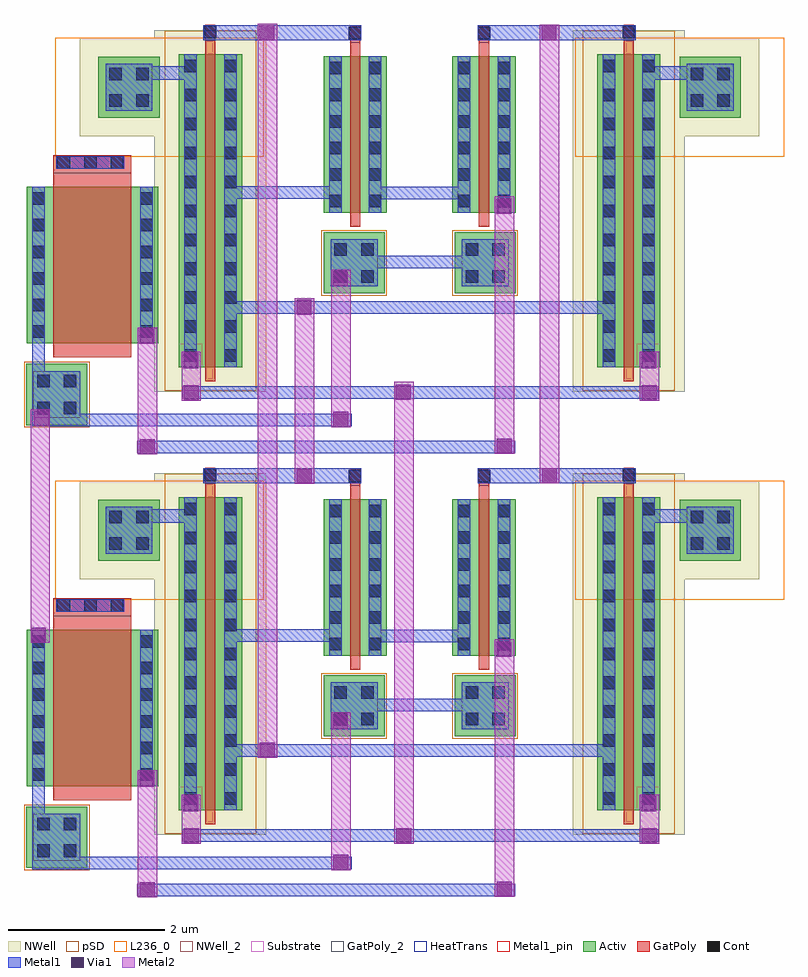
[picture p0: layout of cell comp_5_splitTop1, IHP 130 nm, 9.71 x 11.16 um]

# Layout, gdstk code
from math import pi, radians
import gdstk
lib = gdstk.Library(unit=1e-6, precision=1e-09)
def R(c, l, rs):  # rectangles x0, y0, x1, y1
    for r in rs: c.add(gdstk.rectangle(r[:2], r[2:], *l))
def A(c, l, x, y, w, h, nx, ny, dx, dy):  # array of equal rectangles
    R(c, l, [(x+i*dx, y+j*dy, x+i*dx+w, y+j*dy+h) for i in range(nx) for j in range(ny)])
def P(c, l, *ps):  # polygons
    for p in ps: c.add(gdstk.Polygon(p, *l))
Activ = (1, 0)
GatPoly = (5, 0)
GatPoly_2 = (5, 2)
Cont = (6, 0)
Metal1 = (8, 0)
Metal1_pin = (8, 2)
Metal2 = (10, 0)
pSD = (14, 0)
Via1 = (19, 0)
NWell = (31, 0)
NWell_2 = (31, 2)
Substrate = (40, 0)
HeatTrans = (51, 0)
L236_0 = (236, 0)

ptap = lib.new_cell('ptap')
R(ptap, Activ, [(0,0,0.78,0.78)])
R(ptap, Cont, [(0.14,0.14,0.3,0.3), (0.48,0.14,0.64,0.3), (0.14,0.48,0.3,0.64), (0.48,0.48,0.64,0.64)])
R(ptap, Metal1, [(0.09,0.09,0.69,0.69)])
R(ptap, Metal1_pin, [(0.09,0.09,0.69,0.69)])
R(ptap, pSD, [(-0.03,-0.03,0.81,0.81)])

comp_5_split1 = lib.new_cell('comp_5_split1')
R(comp_5_split1, Activ, [(-0.595,-4.037,0.215,-0.037), (4.752,-4.037,5.562,-0.037), (1.256,-4.011,2.066,-2.011), (2.901,-4.011,3.711,-2.011), (-1.62,-4.008,-0.84,-3.228), (5.807,-4.008,6.587,-3.228), (5.826,-2.344,7.506,-0.344), (1.256,-2.311,1.556,-2.011), (1.766,-2.311,2.066,-2.011), (2.901,-2.311,3.201,-2.011), (3.411,-2.311,3.711,-2.011), (5.826,-0.644,6.126,-0.344), (7.206,-0.644,7.506,-0.344), (-0.595,-0.337,-0.295,-0.037), (-0.085,-0.337,0.215,-0.037), (4.752,-0.337,5.052,-0.037), (5.262,-0.337,5.562,-0.037), (6.729,-0.08,7.509,0.7)])
R(comp_5_split1, GatPoly, [(-0.255,-4.418,-0.125,0.143), (5.092,-4.418,5.222,0.143), (1.596,-4.4,1.726,-1.831), (3.241,-4.4,3.371,-1.831), (-0.255,-4.217,-0.125,0.143), (-0.255,-4.217,-0.125,0.143), (5.092,-4.217,5.222,0.143), (5.092,-4.217,5.222,0.143), (6.166,-2.748,7.166,-0.164)])
R(comp_5_split1, GatPoly_2, [(1.596,-4.191,1.726,-1.831), (1.596,-4.191,1.726,-1.831), (3.241,-4.191,3.371,-1.831), (3.241,-4.191,3.371,-1.831), (6.166,-2.524,7.166,-0.164), (6.166,-2.524,7.166,-0.164)])
A(comp_5_split1, Cont, -0.525, -3.967, 0.16, 0.16, 1, 11, 0, 0.37)
A(comp_5_split1, Cont, -0.015, -3.967, 0.16, 0.16, 1, 11, 0, 0.37)
A(comp_5_split1, Cont, 4.822, -3.967, 0.16, 0.16, 1, 11, 0, 0.37)
A(comp_5_split1, Cont, 5.332, -3.967, 0.16, 0.16, 1, 11, 0, 0.37)
A(comp_5_split1, Cont, 1.326, -3.941, 0.16, 0.16, 1, 6, 0, 0.34)
A(comp_5_split1, Cont, 1.836, -3.941, 0.16, 0.16, 1, 6, 0, 0.34)
A(comp_5_split1, Cont, 2.971, -3.941, 0.16, 0.16, 1, 6, 0, 0.34)
A(comp_5_split1, Cont, 3.481, -3.941, 0.16, 0.16, 1, 6, 0, 0.34)
A(comp_5_split1, Cont, 6.271, -2.733, 0.16, 0.16, 3, 1, 0.34, 0)
A(comp_5_split1, Cont, 5.896, -2.274, 0.16, 0.16, 1, 6, 0, 0.34)
A(comp_5_split1, Cont, 7.276, -2.274, 0.16, 0.16, 1, 6, 0, 0.34)
R(comp_5_split1, Cont, [(-0.275,-4.4,-0.115,-4.24), (5.082,-4.4,5.242,-4.24), (1.581,-4.387,1.741,-4.227), (3.226,-4.387,3.386,-4.227), (-1.48,-3.868,-1.32,-3.708), (-1.14,-3.868,-0.98,-3.708), (5.947,-3.868,6.107,-3.708), (6.287,-3.868,6.447,-3.708), (-1.48,-3.528,-1.32,-3.368), (-1.14,-3.528,-0.98,-3.368), (5.947,-3.528,6.107,-3.368), (6.287,-3.528,6.447,-3.368), (6.869,0.06,7.029,0.22), (7.209,0.06,7.369,0.22), (6.869,0.4,7.029,0.56), (7.209,0.4,7.369,0.56)])
R(comp_5_split1, Metal1, [(-0.28,-4.411,1.741,-4.218), (3.226,-4.411,5.247,-4.218), (-0.015,-4.037,0.145,-0.037), (-0.015,-4.037,0.145,-0.037), (-0.015,-4.037,0.145,-0.037), (4.822,-4.037,4.982,-0.037), (4.822,-4.037,4.982,-0.037), (4.822,-4.037,4.982,-0.037), (1.326,-4.011,1.486,-2.011), (1.836,-4.011,1.996,-2.011), (2.971,-4.011,3.131,-2.011), (3.481,-4.011,3.641,-2.011), (6.255,-2.734,7.128,-2.574), (3.616,-2.353,4.847,-2.193), (5.896,-2.344,6.056,-0.344), (7.276,-2.344,7.436,0.088), (1.883,-2.343,3.114,-2.183), (1.883,-1.464,3.114,-1.304), (-0.016,-0.884,4.897,-0.724), (6.819,0.01,7.436,0.61), (-0.566,0.203,5.514,0.363), (3.348,0.556,7.436,0.716), (1.263,0.902,6.093,1.062)])
P(comp_5_split1, Metal1, [(-0.525,-4.037),(-0.525,-3.885),(-0.93,-3.885),(-0.93,-3.918),(-1.53,-3.918),(-1.53,-3.318),(-0.93,-3.318),(-0.93,-3.715),(-0.525,-3.715),(-0.525,-0.037),(-0.365,-0.037),(-0.365,-4.037)],
  [(5.332,-4.037),(5.332,-0.037),(5.492,-0.037),(5.492,-3.715),(5.897,-3.715),(5.897,-3.318),(6.497,-3.318),(6.497,-3.918),(5.897,-3.918),(5.897,-3.885),(5.492,-3.885),(5.492,-4.037)])
R(comp_5_split1, Metal1_pin, [(1.326,-4.011,1.486,-2.011), (1.326,-4.011,1.486,-2.011), (1.836,-4.011,1.996,-2.011), (1.836,-4.011,1.996,-2.011), (2.971,-4.011,3.131,-2.011), (2.971,-4.011,3.131,-2.011), (3.481,-4.011,3.641,-2.011), (3.481,-4.011,3.641,-2.011), (-1.53,-3.918,-0.93,-3.318), (5.897,-3.918,6.497,-3.318), (5.896,-2.344,6.056,-0.344), (5.896,-2.344,6.056,-0.344), (7.276,-2.344,7.436,-0.344), (7.276,-2.344,7.436,-0.344), (6.819,0.01,7.419,0.61)])
R(comp_5_split1, Metal2, [(1.276,-2.225,1.524,1.069), (3.366,-1.287,3.614,0.727), (5.839,-0.546,6.087,1.074), (-0.579,-0.237,-0.331,0.389), (5.277,-0.237,5.525,0.389)])
R(comp_5_split1, pSD, [(-0.775,-4.337,0.395,0.263), (4.572,-4.337,5.742,0.263), (6.699,-0.11,7.539,0.73)])
R(comp_5_split1, Via1, [(1.313,-2.19,1.503,-2), (3.403,-1.268,3.593,-1.078), (5.876,-0.527,6.066,-0.337), (-0.542,-0.218,-0.352,-0.028), (5.314,-0.218,5.504,-0.028), (-0.548,0.194,-0.358,0.384), (5.308,0.194,5.498,0.384), (3.398,0.533,3.588,0.723), (1.307,0.876,1.497,1.066), (5.87,0.881,6.06,1.071)])
R(comp_5_split1, NWell, [(-0.905,-4.347,0.525,0.273), (4.442,-4.347,5.872,0.273), (-1.86,-4.248,-0.6,-2.988), (5.567,-4.248,6.827,-2.988)])
R(comp_5_split1, NWell_2, [(-1.62,-4.008,-0.84,-3.228)])
R(comp_5_split1, Substrate, [(-0.595,-0.337,-0.295,-0.037), (-0.595,-0.337,-0.295,-0.037), (5.262,-0.337,5.562,-0.037), (5.262,-0.337,5.562,-0.037)])
R(comp_5_split1, HeatTrans, [(-0.255,-4.217,-0.125,0.143), (5.092,-4.217,5.222,0.143), (1.596,-4.191,1.726,-1.831), (3.241,-4.191,3.371,-1.831), (6.166,-2.524,7.166,-0.164)])
R(comp_5_split1, L236_0, [(-2.174,-4.248,0.494,-2.728), (4.473,-4.248,7.141,-2.728)])
comp_5_split1.add(gdstk.Reference(ptap, (2.931,-0.981), x_reflection=True))
comp_5_split1.add(gdstk.Reference(ptap, (2.036,-0.981), rotation=pi))
comp_5_split1.add(gdstk.Label('pmos', (-0.19,-2.037), layer=63, texttype=0))
comp_5_split1.add(gdstk.Label('well', (-0.84,-3.228), layer=63, texttype=0))
comp_5_split1.add(gdstk.Label('pmos', (5.157,-2.037), layer=63, texttype=0))
comp_5_split1.add(gdstk.Label('well', (5.807,-3.228), layer=63, texttype=0))
comp_5_split1.add(gdstk.Label('nmos', (1.661,-3.011), layer=51, texttype=0))
comp_5_split1.add(gdstk.Label('pmos', (-0.19,-2.037), layer=51, texttype=0))
comp_5_split1.add(gdstk.Label('nmos', (3.306,-3.011), layer=51, texttype=0))
comp_5_split1.add(gdstk.Label('pmos', (5.157,-2.037), layer=51, texttype=0))
comp_5_split1.add(gdstk.Label('nmos', (6.666,-1.344), layer=51, texttype=0))
comp_5_split1.add(gdstk.Label('[@instanceName]', (-0.84,-3.488), layer=236, texttype=1))
comp_5_split1.add(gdstk.Label('[@instanceName]', (5.807,-3.488), layer=236, texttype=1))
comp_5_split1.add(gdstk.Label('SOURCE', (-0.459,-0.783), layer=8, texttype=25))
comp_5_split1.add(gdstk.Label('SOURCE', (5.426,-0.783), layer=8, texttype=25))
comp_5_split1.add(gdstk.Label('vdda', (2.379,5.95), layer=8, texttype=25))
comp_5_split1.add(gdstk.Label('pc', (0.647,-4.3), layer=8, texttype=25))
comp_5_split1.add(gdstk.Label('vssa', (7.189,0.391), layer=8, texttype=25))
comp_5_split1.add(gdstk.Label('SOURCE', (1.425,-2.966), layer=8, texttype=25))
comp_5_split1.add(gdstk.Label('SOURCE', (3.038,-2.987), layer=8, texttype=25))
comp_5_split1.add(gdstk.Label('out1p', (4.311,-4.329), layer=8, texttype=25))
comp_5_split1.add(gdstk.Label('vinp', (6.867,-2.666), layer=8, texttype=25))
comp_5_split1.add(gdstk.Label('out1m', (4.749,1.341), layer=8, texttype=25))

comp_5_split1_1 = lib.new_cell('comp_5_split1$1')
R(comp_5_split1_1, Activ, [(-0.595,-4.037,0.215,-0.037), (4.752,-4.037,5.562,-0.037), (1.256,-4.011,2.066,-2.011), (2.901,-4.011,3.711,-2.011), (-1.62,-4.008,-0.84,-3.228), (5.807,-4.008,6.587,-3.228), (5.826,-2.344,7.506,-0.344), (1.256,-2.311,1.556,-2.011), (1.766,-2.311,2.066,-2.011), (2.901,-2.311,3.201,-2.011), (3.411,-2.311,3.711,-2.011), (5.826,-0.644,6.126,-0.344), (7.206,-0.644,7.506,-0.344), (-0.595,-0.337,-0.295,-0.037), (-0.085,-0.337,0.215,-0.037), (4.752,-0.337,5.052,-0.037), (5.262,-0.337,5.562,-0.037), (6.729,-0.08,7.509,0.7)])
R(comp_5_split1_1, GatPoly, [(-0.255,-4.418,-0.125,0.143), (5.092,-4.418,5.222,0.143), (1.596,-4.4,1.726,-1.831), (3.241,-4.4,3.371,-1.831), (-0.255,-4.217,-0.125,0.143), (-0.255,-4.217,-0.125,0.143), (5.092,-4.217,5.222,0.143), (5.092,-4.217,5.222,0.143), (6.166,-2.748,7.166,-0.164)])
R(comp_5_split1_1, GatPoly_2, [(1.596,-4.191,1.726,-1.831), (1.596,-4.191,1.726,-1.831), (3.241,-4.191,3.371,-1.831), (3.241,-4.191,3.371,-1.831), (6.166,-2.524,7.166,-0.164), (6.166,-2.524,7.166,-0.164)])
A(comp_5_split1_1, Cont, -0.525, -3.967, 0.16, 0.16, 1, 11, 0, 0.37)
A(comp_5_split1_1, Cont, -0.015, -3.967, 0.16, 0.16, 1, 11, 0, 0.37)
A(comp_5_split1_1, Cont, 4.822, -3.967, 0.16, 0.16, 1, 11, 0, 0.37)
A(comp_5_split1_1, Cont, 5.332, -3.967, 0.16, 0.16, 1, 11, 0, 0.37)
A(comp_5_split1_1, Cont, 1.326, -3.941, 0.16, 0.16, 1, 6, 0, 0.34)
A(comp_5_split1_1, Cont, 1.836, -3.941, 0.16, 0.16, 1, 6, 0, 0.34)
A(comp_5_split1_1, Cont, 2.971, -3.941, 0.16, 0.16, 1, 6, 0, 0.34)
A(comp_5_split1_1, Cont, 3.481, -3.941, 0.16, 0.16, 1, 6, 0, 0.34)
A(comp_5_split1_1, Cont, 6.271, -2.733, 0.16, 0.16, 3, 1, 0.34, 0)
A(comp_5_split1_1, Cont, 5.896, -2.274, 0.16, 0.16, 1, 6, 0, 0.34)
A(comp_5_split1_1, Cont, 7.276, -2.274, 0.16, 0.16, 1, 6, 0, 0.34)
R(comp_5_split1_1, Cont, [(-0.275,-4.4,-0.115,-4.24), (5.082,-4.4,5.242,-4.24), (1.581,-4.387,1.741,-4.227), (3.226,-4.387,3.386,-4.227), (-1.48,-3.868,-1.32,-3.708), (-1.14,-3.868,-0.98,-3.708), (5.947,-3.868,6.107,-3.708), (6.287,-3.868,6.447,-3.708), (-1.48,-3.528,-1.32,-3.368), (-1.14,-3.528,-0.98,-3.368), (5.947,-3.528,6.107,-3.368), (6.287,-3.528,6.447,-3.368), (6.869,0.06,7.029,0.22), (7.209,0.06,7.369,0.22), (6.869,0.4,7.029,0.56), (7.209,0.4,7.369,0.56)])
R(comp_5_split1_1, Metal1, [(-0.28,-4.411,1.741,-4.218), (3.226,-4.411,5.247,-4.218), (-0.015,-4.037,0.145,-0.037), (-0.015,-4.037,0.145,-0.037), (-0.015,-4.037,0.145,-0.037), (4.822,-4.037,4.982,-0.037), (4.822,-4.037,4.982,-0.037), (4.822,-4.037,4.982,-0.037), (1.326,-4.011,1.486,-2.011), (1.836,-4.011,1.996,-2.011), (2.971,-4.011,3.131,-2.011), (3.481,-4.011,3.641,-2.011), (6.255,-2.734,7.128,-2.574), (3.616,-2.353,4.847,-2.193), (5.896,-2.344,6.056,-0.344), (7.276,-2.344,7.436,0.088), (1.883,-2.343,3.114,-2.183), (1.883,-1.464,3.114,-1.304), (-0.016,-0.884,4.897,-0.724), (6.819,0.01,7.436,0.61), (-0.566,0.203,5.514,0.363), (3.348,0.556,7.436,0.716), (1.263,0.902,6.093,1.062)])
P(comp_5_split1_1, Metal1, [(-0.525,-4.037),(-0.525,-3.885),(-0.93,-3.885),(-0.93,-3.918),(-1.53,-3.918),(-1.53,-3.318),(-0.93,-3.318),(-0.93,-3.715),(-0.525,-3.715),(-0.525,-0.037),(-0.365,-0.037),(-0.365,-4.037)],
  [(5.332,-4.037),(5.332,-0.037),(5.492,-0.037),(5.492,-3.715),(5.897,-3.715),(5.897,-3.318),(6.497,-3.318),(6.497,-3.918),(5.897,-3.918),(5.897,-3.885),(5.492,-3.885),(5.492,-4.037)])
R(comp_5_split1_1, Metal1_pin, [(1.326,-4.011,1.486,-2.011), (1.326,-4.011,1.486,-2.011), (1.836,-4.011,1.996,-2.011), (1.836,-4.011,1.996,-2.011), (2.971,-4.011,3.131,-2.011), (2.971,-4.011,3.131,-2.011), (3.481,-4.011,3.641,-2.011), (3.481,-4.011,3.641,-2.011), (-1.53,-3.918,-0.93,-3.318), (5.897,-3.918,6.497,-3.318), (5.896,-2.344,6.056,-0.344), (5.896,-2.344,6.056,-0.344), (7.276,-2.344,7.436,-0.344), (7.276,-2.344,7.436,-0.344), (6.819,0.01,7.419,0.61)])
R(comp_5_split1_1, Metal2, [(1.276,-2.225,1.524,1.069), (3.366,-1.287,3.614,0.727), (5.839,-0.546,6.087,1.074), (-0.579,-0.237,-0.331,0.389), (5.277,-0.237,5.525,0.389)])
R(comp_5_split1_1, pSD, [(-0.775,-4.337,0.395,0.263), (4.572,-4.337,5.742,0.263), (6.699,-0.11,7.539,0.73)])
R(comp_5_split1_1, Via1, [(1.313,-2.19,1.503,-2), (3.403,-1.268,3.593,-1.078), (5.876,-0.527,6.066,-0.337), (-0.542,-0.218,-0.352,-0.028), (5.314,-0.218,5.504,-0.028), (-0.548,0.194,-0.358,0.384), (5.308,0.194,5.498,0.384), (3.398,0.533,3.588,0.723), (1.307,0.876,1.497,1.066), (5.87,0.881,6.06,1.071)])
R(comp_5_split1_1, NWell, [(-0.905,-4.347,0.525,0.273), (4.442,-4.347,5.872,0.273), (-1.86,-4.248,-0.6,-2.988), (5.567,-4.248,6.827,-2.988)])
R(comp_5_split1_1, NWell_2, [(-1.62,-4.008,-0.84,-3.228)])
R(comp_5_split1_1, Substrate, [(-0.595,-0.337,-0.295,-0.037), (-0.595,-0.337,-0.295,-0.037), (5.262,-0.337,5.562,-0.037), (5.262,-0.337,5.562,-0.037)])
R(comp_5_split1_1, HeatTrans, [(-0.255,-4.217,-0.125,0.143), (5.092,-4.217,5.222,0.143), (1.596,-4.191,1.726,-1.831), (3.241,-4.191,3.371,-1.831), (6.166,-2.524,7.166,-0.164)])
R(comp_5_split1_1, L236_0, [(-2.174,-4.248,0.494,-2.728), (4.473,-4.248,7.141,-2.728)])
comp_5_split1_1.add(gdstk.Reference(ptap, (2.931,-0.981), x_reflection=True))
comp_5_split1_1.add(gdstk.Reference(ptap, (2.036,-0.981), rotation=pi))
comp_5_split1_1.add(gdstk.Label('pmos', (-0.19,-2.037), layer=63, texttype=0))
comp_5_split1_1.add(gdstk.Label('well', (-0.84,-3.228), layer=63, texttype=0))
comp_5_split1_1.add(gdstk.Label('pmos', (5.157,-2.037), layer=63, texttype=0))
comp_5_split1_1.add(gdstk.Label('well', (5.807,-3.228), layer=63, texttype=0))
comp_5_split1_1.add(gdstk.Label('nmos', (1.661,-3.011), layer=51, texttype=0))
comp_5_split1_1.add(gdstk.Label('pmos', (-0.19,-2.037), layer=51, texttype=0))
comp_5_split1_1.add(gdstk.Label('nmos', (3.306,-3.011), layer=51, texttype=0))
comp_5_split1_1.add(gdstk.Label('pmos', (5.157,-2.037), layer=51, texttype=0))
comp_5_split1_1.add(gdstk.Label('nmos', (6.666,-1.344), layer=51, texttype=0))
comp_5_split1_1.add(gdstk.Label('[@instanceName]', (-0.84,-3.488), layer=236, texttype=1))
comp_5_split1_1.add(gdstk.Label('[@instanceName]', (5.807,-3.488), layer=236, texttype=1))
comp_5_split1_1.add(gdstk.Label('SOURCE', (-0.459,-0.783), layer=8, texttype=25))
comp_5_split1_1.add(gdstk.Label('SOURCE', (5.426,-0.783), layer=8, texttype=25))
comp_5_split1_1.add(gdstk.Label('SOURCE', (1.425,-2.966), layer=8, texttype=25))
comp_5_split1_1.add(gdstk.Label('SOURCE', (3.038,-2.987), layer=8, texttype=25))
comp_5_split1_1.add(gdstk.Label('vinm_samp', (6.867,-2.666), layer=8, texttype=25))

comp_5_splittop1 = lib.new_cell('comp_5_splitTop1')
R(comp_5_splittop1, Metal2, [(-2.671,-5.916,-2.423,-0.013), (-4.416,-4.816,-4.168,4.564), (-7.319,-3.349,-7.071,-0.362), (-3.94,-1.314,-3.692,1.055), (-0.809,-1.311,-0.561,4.552)])
R(comp_5_splittop1, Via1, [(-2.644,-5.906,-2.454,-5.716), (-4.39,-4.813,-4.2,-4.623), (-7.314,-3.343,-7.124,-3.153), (-3.914,-1.311,-3.724,-1.121), (-0.782,-1.307,-0.592,-1.117), (-7.271,-0.571,-7.081,-0.381), (-2.65,-0.238,-2.46,-0.048), (-3.919,0.846,-3.729,1.036), (-4.395,4.355,-4.205,4.545), (-0.788,4.356,-0.598,4.546)])
comp_5_splittop1.add(gdstk.Reference(comp_5_split1, (0.136,0.136), rotation=pi))
comp_5_splittop1.add(gdstk.Reference(comp_5_split1_1, (0.136,-5.525), rotation=pi))

lib.write_gds('comp_5_splitTop1.gds')
